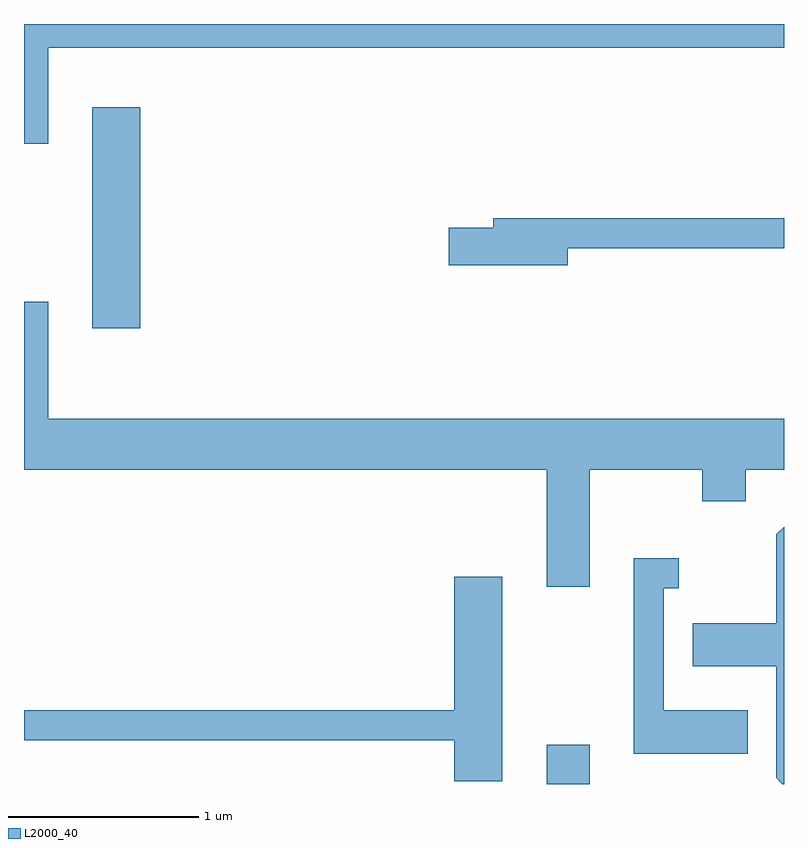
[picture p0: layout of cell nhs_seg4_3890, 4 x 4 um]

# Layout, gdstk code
import gdstk
lib = gdstk.Library(unit=1e-6, precision=1e-09)
def R(c, l, rs):  # rectangles x0, y0, x1, y1
    for r in rs: c.add(gdstk.rectangle(r[:2], r[2:], *l))
def P(c, l, *ps):  # polygons
    for p in ps: c.add(gdstk.Polygon(p, *l))
L2000_40 = (2000, 40)

nhs_seg4_3890 = lib.new_cell('nhs_seg4_3890')
R(nhs_seg4_3890, L2000_40, [(302.361,1281.982,302.589,1282.189), (299.971,1284.381,300.224,1285.544)])
P(nhs_seg4_3890, L2000_40, [(299.739,1285.856),(303.611,1285.856),(303.611,1285.982),(299.611,1285.982),(299.611,1285.351),(299.739,1285.351)],
  [(302.474,1284.801),(303.611,1284.801),(303.611,1284.959),(302.081,1284.959),(302.081,1284.909),(301.846,1284.909),(301.846,1284.711),(302.474,1284.711)],
  [(302.589,1283.636),(303.181,1283.636),(303.181,1283.471),(303.409,1283.471),(303.409,1283.636),(303.611,1283.636),(303.611,1283.904),(299.739,1283.904),(299.739,1284.519),(299.611,1284.519),(299.611,1283.636),(302.361,1283.636),(302.361,1283.021),(302.589,1283.021)],
  [(303.611,1283.337),(303.571,1283.297),(303.571,1282.829),(303.131,1282.829),(303.131,1282.601),(303.571,1282.601),(303.571,1282.014),(303.603,1281.982),(303.611,1281.982)],
  [(303.419,1282.369),(302.979,1282.369),(302.979,1283.011),(303.058,1283.011),(303.058,1283.169),(302.821,1283.169),(302.821,1282.141),(303.419,1282.141)],
  [(302.129,1283.074),(301.876,1283.074),(301.876,1282.369),(299.611,1282.369),(299.611,1282.211),(301.876,1282.211),(301.876,1281.996),(302.129,1281.996)])

lib.write_gds('nhs_seg4_3890.gds')
